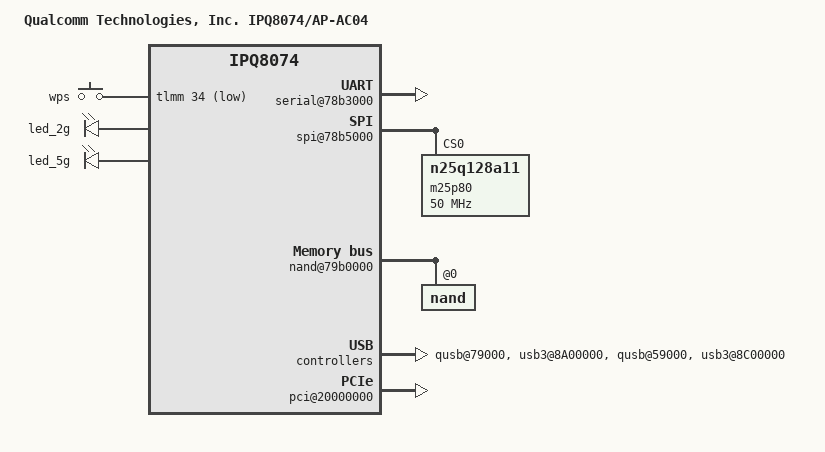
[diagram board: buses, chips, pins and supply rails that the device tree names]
// SPDX-License-Identifier: GPL-2.0-only
/dts-v1/;
/* Copyright (c) 2020 The Linux Foundation. All rights reserved.
 */
#include "ipq8074.dtsi"
#include "ipq8074-ac-cpu.dtsi"

/ {
	#address-cells = <0x2>;
	#size-cells = <0x2>;
	model = "Qualcomm Technologies, Inc. IPQ8074/AP-AC04";
	compatible = "qcom,ipq8074-ap-ac04", "qcom,ipq8074";
	qcom,msm-id = <0x18C 0x0>;
	interrupt-parent = <&intc>;

	aliases {
		serial0 = &blsp1_uart5;
		/* Aliases as required by u-boot to patch MAC addresses */
		ethernet0 = "/soc/dp1";
		ethernet1 = "/soc/dp2";
		ethernet2 = "/soc/dp3";
		ethernet3 = "/soc/dp4";
		ethernet4 = "/soc/dp5";
	};

	chosen {
		stdout-path = "serial0";
	};

	soc {
		pinctrl@1000000 {
			button_pins: button_pins {
				wps_button {
					pins = "gpio34";
					function = "gpio";
					drive-strength = <8>;
					bias-pull-up;
				};
			};

			usb_mux_sel_pins: usb_mux_pins {
				mux {
					pins = "gpio27";
					function = "gpio";
					drive-strength = <8>;
					bias-pull-down;
				};
			};

			pcie0_pins: pcie_pins {
				pcie0_rst {
					pins = "gpio58";
					function = "pcie0_rst";
					drive-strength = <8>;
					bias-pull-down;
				};
				pcie0_wake {
					pins = "gpio59";
					function = "pcie0_wake";
					drive-strength = <8>;
					bias-pull-down;
				};
			};

			led_pins: led_pins {
				led_2g {
					pins = "gpio42";
					function = "gpio";
					drive-strength = <8>;
					bias-pull-down;
				};

				led_5g {
					pins = "gpio43";
					function = "gpio";
					drive-strength = <8>;
					bias-pull-down;
				};
			};
		};

		serial@78b3000 {
			status = "ok";
		};

		spi@78b5000 {
			status = "ok";
			pinctrl-0 = <&spi_0_pins>;
			pinctrl-names = "default";
			cs-select = <0>;

			m25p80@0 {
				  compatible = "n25q128a11";
				  #address-cells = <1>;
				  #size-cells = <1>;
				  reg = <0>;
				  spi-max-frequency = <50000000>;
			};
		};

		dma@7984000 {
			 status = "ok";
		};

		nand@79b0000 {
			status = "ok";

			nand@0 {
				reg = <0>;
				#address-cells = <1>;
				#size-cells = <1>;

				nand-ecc-strength = <4>;
				nand-ecc-step-size = <512>;
				nand-bus-width = <8>;
			};
		};

		qusb@79000 {
			status = "ok";
		};

		ssphy@78000 {
			status = "ok";
		};

		usb3@8A00000 {
			status = "ok";
		};

		qusb@59000 {
			status = "ok";
		};

		ssphy@58000 {
			status = "ok";
		};

		usb3@8C00000 {
			status = "ok";
		};

		phy@84000 {
			status = "ok";
		};

		phy@86000 {
			status = "ok";
		};

		pci@20000000 {
			perst-gpio = <&tlmm 58 1>;
			status = "ok";
		};

		gpio_keys {
			compatible = "gpio-keys";
			pinctrl-0 = <&button_pins>;
			pinctrl-names = "default";
			status = "ok";

			button@1 {
				label = "wps";
				linux,code = <KEY_WPS_BUTTON>;
				gpios = <&tlmm 34 GPIO_ACTIVE_LOW>;
				linux,input-type = <1>;
				debounce-interval = <60>;
			};
		};

		leds {
			compatible = "gpio-leds";
			pinctrl-0 = <&led_pins>;
			pinctrl-names = "default";

			led_2g {
				label = "led_2g";
				gpio = <&tlmm 42 GPIO_ACTIVE_HIGH>;
				default-state = "off";
			};

			led_5g {
				label = "led_5g";
				gpio = <&tlmm 43 GPIO_ACTIVE_HIGH>;
				default-state = "off";
			};
		};

	};
};

&apc_cpr {
	/* Same CPR configuration as OAK */
	compatible = "qcom,cpr4-ipq817x-apss-regulator";

	thread@0 {
		apc_vreg: regulator {
			regulator-min-microvolt = <1>;
			regulator-max-microvolt = <2>;
			qcom,cpr-fuse-corners = <2>;
			qcom,cpr-corners = <3>;
			qcom,cpr-speed-bin-corners = <3>;
			qcom,cpr-corner-fmax-map = <1 3>;

			qcom,cpr-voltage-ceiling =
				<840000 904000 944000>;
			qcom,cpr-voltage-floor =
				<592000 648000 712000>;
			qcom,corner-frequencies =
				<1017600000 1382400000 1382400000>;

			qcom,cpr-open-loop-voltage-fuse-adjustment-0 =
				/* Speed bin 0; CPR rev 0..7 */
				< 0      0>,
				< 0      0>,
				< 0      0>,
				< 0      0>,
				< 0      0>,
				< 0      0>,
				< 0      0>,
				< 0      0>;

			qcom,cpr-open-loop-voltage-fuse-adjustment-1 =
				/* Speed bin 0; CPR rev 0..7 */
				<     0      0>,
				<     0      0>,
				<     0      0>,
				< 20000  26000>,
				<     0      0>,
				<     0      0>,
				<     0      0>,
				<     0      0>;

			qcom,cpr-open-loop-voltage-fuse-adjustment-v2-0 =
				/* Speed bin 0; CPR rev 0..7 */
				<     0      0>,
				<     0      0>,
				<     0      0>,
				<     0      0>,
				<     0      0>,
				<     0      0>,
				<     0      0>,
				<     0      0>;

			qcom,cpr-open-loop-voltage-fuse-adjustment-v2-1 =
				/* Speed bin 0; CPR rev 0..7 */
				<     0      0>,
				<     0   7000>,
				<     0      0>,
				<     0      0>,
				<     0      0>,
				<     0      0>,
				<     0      0>,
				<     0      0>;

			qcom,cpr-floor-to-ceiling-max-range =
				< 40000 40000 40000>,
				< 40000 40000 40000>,
				< 40000 40000 40000>,
				< 40000 40000 40000>,
				< 40000 40000 40000>,
				< 40000 40000 40000>,
				< 40000 40000 40000>,
				< 40000 40000 40000>;
		};
	};
};

&npu_cpr {
	status = "disabled";
};

&nss0 {
	npu-supply = <&dummy_reg>;
	mx-supply = <&dummy_reg>;
};
